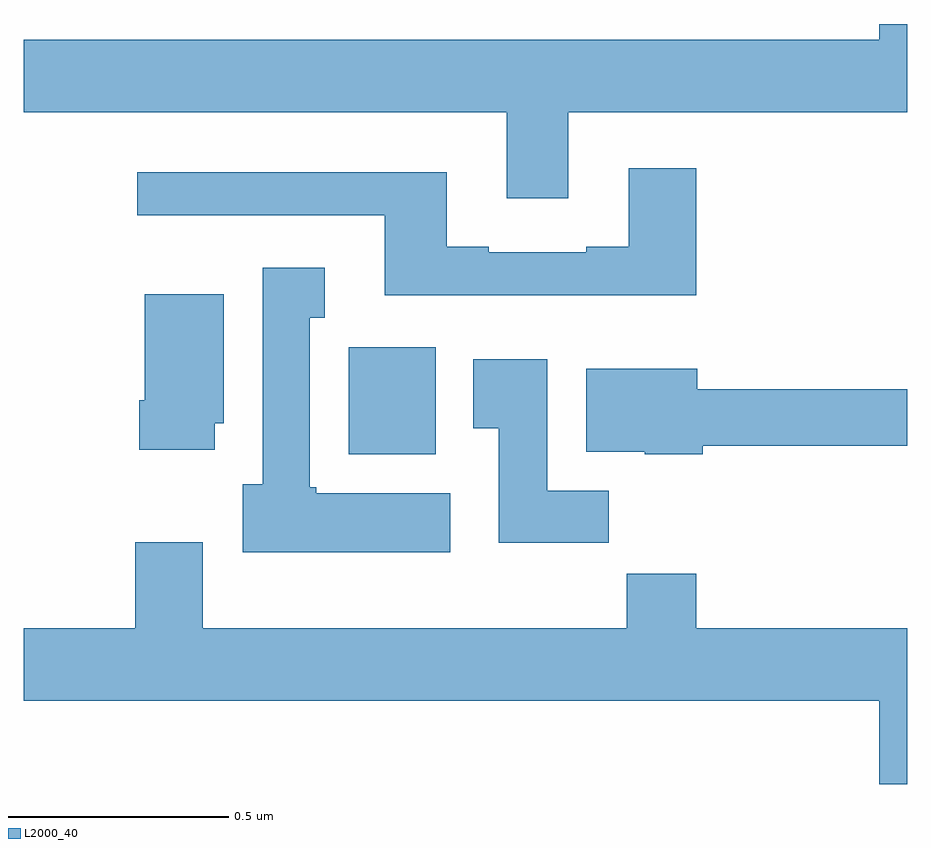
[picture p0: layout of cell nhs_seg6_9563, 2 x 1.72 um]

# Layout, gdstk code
import gdstk
lib = gdstk.Library(unit=1e-6, precision=1e-09)
def R(c, l, rs):  # rectangles x0, y0, x1, y1
    for r in rs: c.add(gdstk.rectangle(r[:2], r[2:], *l))
def P(c, l, *ps):  # polygons
    for p in ps: c.add(gdstk.Polygon(p, *l))
L2000_40 = (2000, 40)

nhs_seg6_9563 = lib.new_cell('nhs_seg6_9563')
R(nhs_seg6_9563, L2000_40, [(235.736,982.526,235.933,982.768)])
P(nhs_seg6_9563, L2000_40, [(236.233,983.3),(237,983.3),(237,983.5),(236.936,983.5),(236.936,983.464),(235,983.464),(235,983.3),(236.093,983.3),(236.093,983.106),(236.233,983.106)],
  [(236.522,983.173),(236.369,983.173),(236.369,982.996),(236.273,982.996),(236.273,982.983),(236.053,982.983),(236.053,982.996),(235.957,982.996),(235.957,983.164),(235.257,983.164),(235.257,983.067),(235.817,983.067),(235.817,982.886),(236.522,982.886)],
  [(235.966,982.438),(235.662,982.438),(235.662,982.452),(235.648,982.452),(235.648,982.835),(235.681,982.835),(235.681,982.948),(235.541,982.948),(235.541,982.458),(235.496,982.458),(235.496,982.304),(235.966,982.304)],
  [(235.432,982.596),(235.453,982.596),(235.453,982.888),(235.274,982.888),(235.274,982.648),(235.262,982.648),(235.262,982.536),(235.432,982.536)],
  [(236.324,982.444),(236.185,982.444),(236.185,982.741),(236.018,982.741),(236.018,982.585),(236.075,982.585),(236.075,982.326),(236.324,982.326)],
  [(236.537,982.545),(237,982.545),(237,982.673),(236.524,982.673),(236.524,982.72),(236.273,982.72),(236.273,982.532),(236.406,982.532),(236.406,982.526),(236.537,982.526)],
  [(237,982.132),(236.522,982.132),(236.522,982.256),(236.365,982.256),(236.365,982.132),(235.405,982.132),(235.405,982.327),(235.253,982.327),(235.253,982.132),(235,982.132),(235,981.968),(236.936,981.968),(236.936,981.78),(237,981.78)])

lib.write_gds('nhs_seg6_9563.gds')
